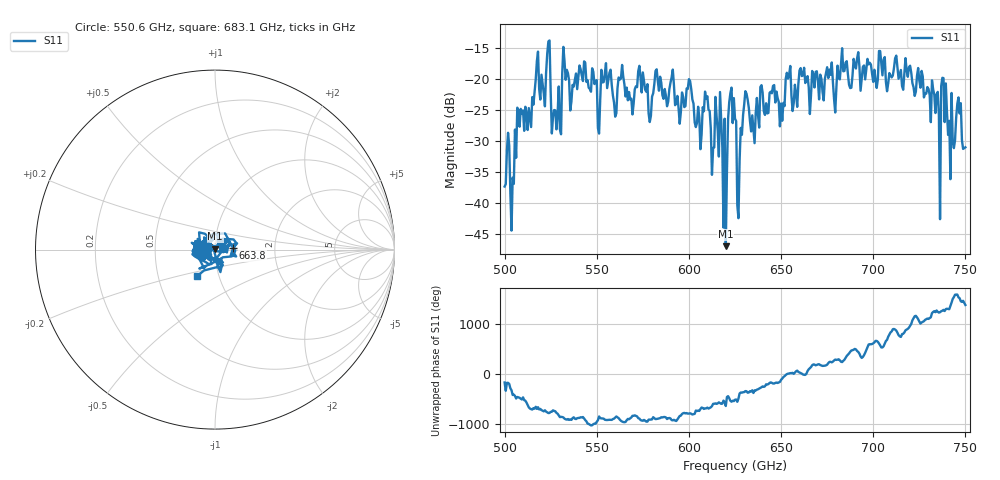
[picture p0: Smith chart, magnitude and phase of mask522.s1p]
!Created with skrf (http://scikit-rf.org).
# GHz S MA R 50.0
!freq magS11 angS11
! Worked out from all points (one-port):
!   401 points, 500 GHz to 750 GHz, reference 50 ohm
!   lowest |S11| = -46.9 dB at 620 GHz (marker M1), VSWR 1.01, Z = 50.1 + j0.446 ohm
!   |S11| at or under -10 dB: start of sweep to end of sweep
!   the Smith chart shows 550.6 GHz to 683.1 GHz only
!   S11 on the Smith chart (normalised r, x): 550.6 GHz: 0.93, +0.03; 663.8 GHz: 1.22, +0.02; 683.1 GHz: 0.79, -0.24
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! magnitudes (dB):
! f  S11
! 500 GHz  -37.3
! 504.4 GHz  -35.9
! 508.1 GHz  -27.7
! 517.5 GHz  -17.1
! 523.8 GHz  -13.9
! 526.9 GHz  -25.0
! 531.2 GHz  -19.1
! 542.5 GHz  -20.3
! 550.6 GHz  -27.9
! 562.5 GHz  -20.0
! 593.8 GHz  -22.7
! 610 GHz  -22.7
! 620 GHz  -46.9
! 622.5 GHz  -22.2
! 625 GHz  -26.4
! 627.5 GHz  -33.0
! 630.6 GHz  -21.9
! 634.4 GHz  -25.8
! 656.2 GHz  -25.1
! 663.8 GHz  -19.9
! 683.1 GHz  -15.0
! 687.5 GHz  -21.4
! 718.8 GHz  -19.6
! 735 GHz  -22.0
! 738.1 GHz  -19.8
! 743.1 GHz  -30.0
! 746.2 GHz  -22.9
! 750 GHz  -31.0
